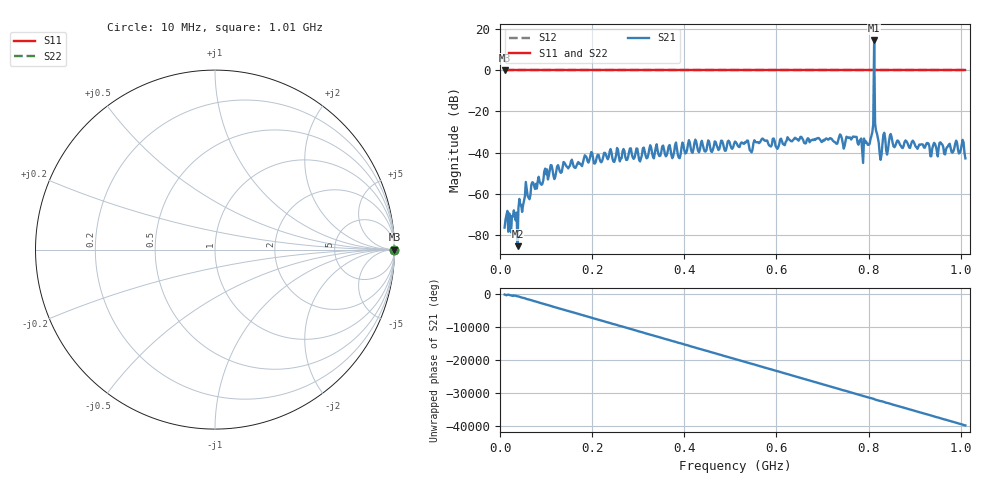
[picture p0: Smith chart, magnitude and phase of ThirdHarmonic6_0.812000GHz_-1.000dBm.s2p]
! 8/16/2025 3:02:15 AM
! C:\ANRITSUVNA\TEMP\TEMP.S2P
! CHANNEL.1
! TR.MEASUREMENT
! RAW.DATA
! RF.CORRECTION.OFF
! AVERAGING.OFF
! IF.BANDWIDTH: 5KHZ
! SWEEPTYPE:  FREQ.SWEEP(Linear)
! Reference Plane Port Info
! PORT:  PORT1  PORT2
! DISTANCE:  0  m  0  m
! TIME:  0  s  0  s
! PHASE.OFFSET:  0  deg.  0  deg.
! LOSS:  0  dB  0  dB
! REF.LOSS:  0  dB  0  dB
! REF.FREQ:  0  Hz  0  Hz
! Power Info
! POWER:  -20  dBm  -20  dBm
! EFF.POWER:  -20  dBm  -20  dBm
! SOURCE.ATTEN:  0  dB  0  dB
! TEST.ATTEN:  0  dB  0  dB
# GHZ S RI R 50.0
! FREQ.GHZ  S11RE  S11IM  S21RE  S21IM  S12RE  S12IM  S22RE  S22IM
!; PortSelection: Port_12
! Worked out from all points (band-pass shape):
!   501 points, 10 MHz to 1.01 GHz, reference 50 ohm
!   highest |S21| = 14.51 dB at 812 MHz (marker M1); lowest = -85.4 dB at 38 MHz (marker M2)
!   |S21| within 3 dB of the highest: 811.8528 MHz to 812.149 MHz (296.1 kHz wide, 0.0365 % of centre)
!   lowest |S11| = 0.0 dB at 10 MHz (marker M3)
!   |S11| at or under -10 dB: nowhere
!   |S22| runs from 0.0 to 0.0 dB; largest |S21 - S12| = 6.3
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0.01  1 0  -1.81e-05 -0.00015  1 0  1 0
0.038  1 0  1.26e-05 5.2e-05  1 0  1 0
0.056  1 0  -0.00019 0.00193  1 0  1 0
0.098  1 0  -0.00407 0.000405  1 0  1 0
0.178  1 0  -0.00471 -4.4e-06  1 0  1 0
0.344  1 0  0.00433 -0.008  1 0  1 0
0.51  1 0  -0.00417 0.0181  1 0  1 0
0.544  1 0  -0.0105 0.00325  1 0  1 0
0.57  1 0  -0.0208 -0.00726  1 0  1 0
0.678  1 0  -0.0193 0.00738  1 0  1 0
0.77  1 0  0.0212 0.0116  1 0  1 0
0.79  1 0  0.00674 -0.0209  1 0  1 0
0.806  1 0  0.0173 0.0186  1 0  1 0
0.808  1 0  0.0278 -0.0146  1 0  1 0
0.812  1 0  -5.294 0.4521  1 0  1 0
0.816  1 0  0.00847 -0.0335  1 0  1 0
0.818  1 0  -0.0275 -0.00989  1 0  1 0
0.826  1 0  -0.000144 -0.0067  1 0  1 0
0.834  1 0  0.0196 -0.0233  1 0  1 0
0.844  1 0  0.0108 -0.0145  1 0  1 0
0.99  1 0  -0.0173 0.00919  1 0  1 0
1.01  1 0  0.00463 0.00558  1 0  1 0
